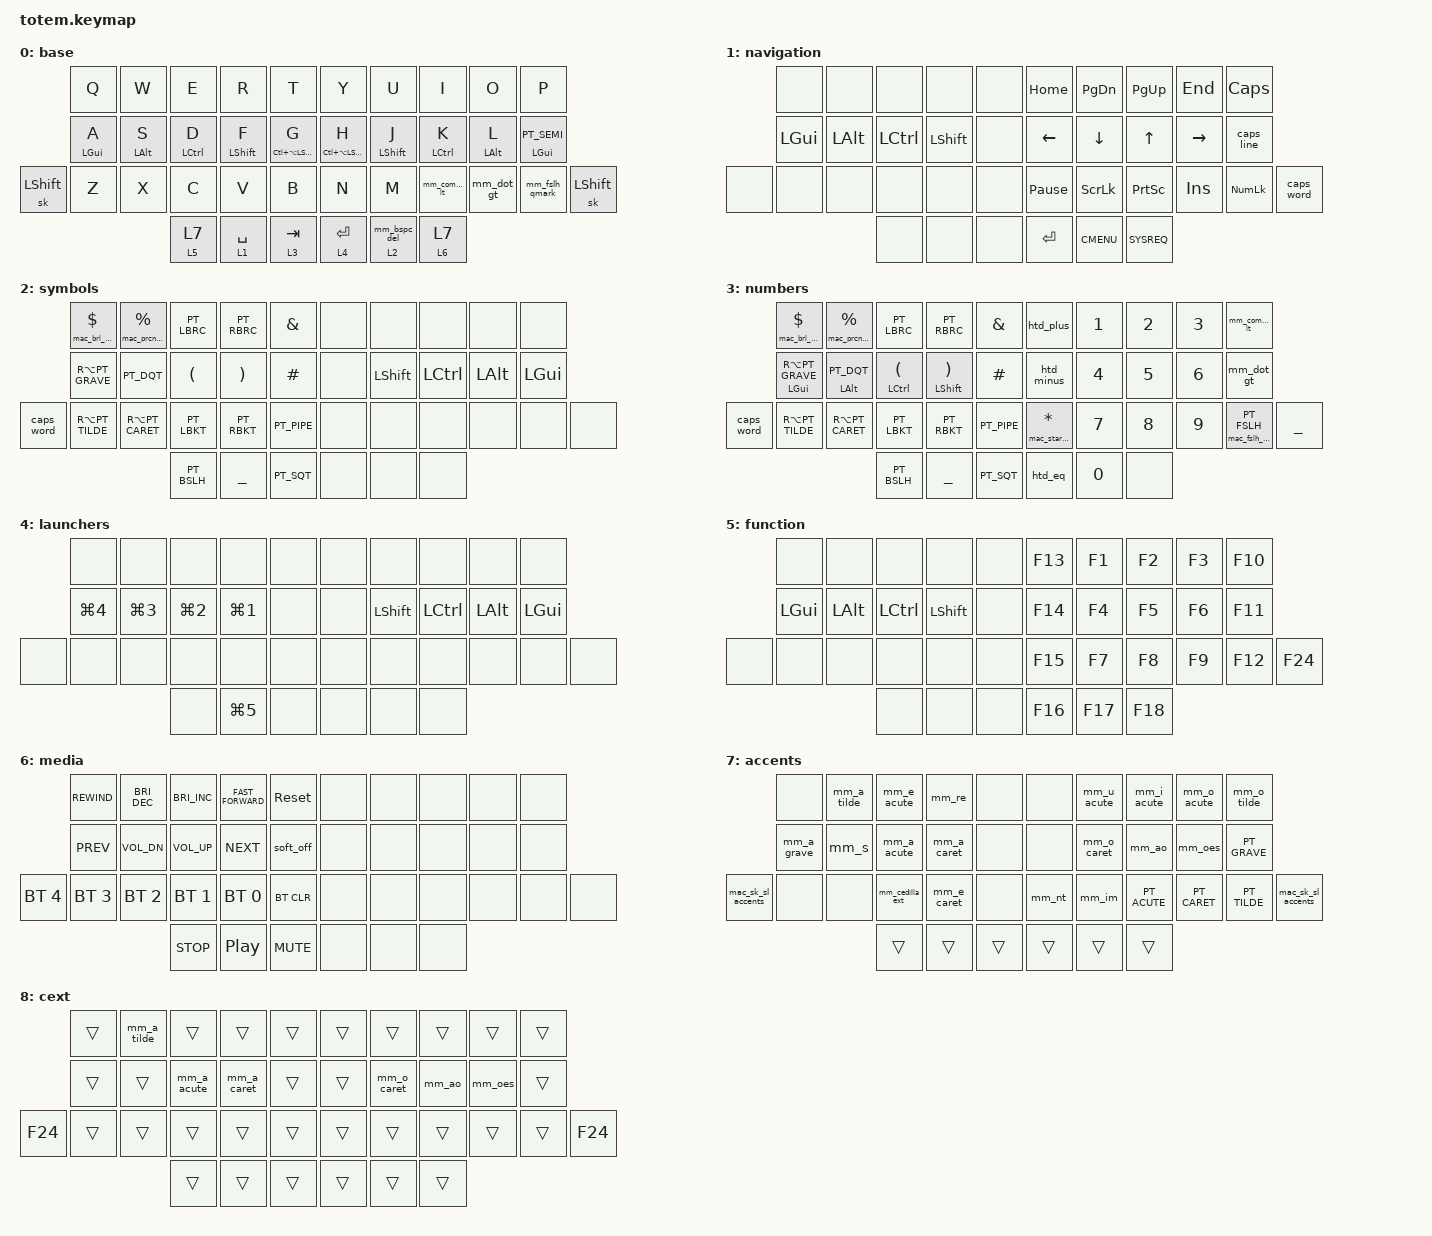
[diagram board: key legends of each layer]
//
//                                                        ▀▀▀▀▀     ▀▀▀▀▀          ▀▀█▀▀
//                                                        ▄▀▀▀▄  ▄  ▄▀▀▀▄  ▄  ▄▀▀▀▄  █  ▄▀▀▀▄
//                                                        █   █  █  █   █  █  █   █  █  █   █
//                                                         ▀▀▀   █   ▀▀▀   █   ▀▀▀   ▀   ▀▀▀
//                                                               █      ▄▄▄█▄▄▄    █   █
//                                                               ▀      █  █  █     █▄█
//                                                             ▀▀▀▀▀    █  █  █      ▀
//                                                                      ▀  ▀  ▀
//
// ▄▄▄▄▄▄▄▄▄▄▄▄▄▄▄▄▄▄▄▄▄▄▄▄▄▄▄▄▄▄▄▄▄▄▄▄▄▄▄▄▄▄▄▄▄▄▄▄▄▄▄▄▄▄▄▄▄▄▄▄▄▄▄▄▄▄▄▄▄▄▄▄▄▄▄▄▄▄▄▄▄▄▄▄▄▄▄▄▄▄▄▄▄▄▄▄▄▄▄▄▄▄▄▄▄▄▄▄▄▄▄▄▄▄▄▄▄▄▄▄▄▄▄▄▄▄▄▄▄▄▄▄▄▄▄▄▄▄▄▄▄▄▄▄▄▄▄▄▄

#include <locale/keys_pt_abnt2.h>
#include <behaviors.dtsi>
#include <dt-bindings/zmk/bt.h>
#include <dt-bindings/zmk/keys.h>

&caps_word { continue-list = <UNDERSCORE MINUS BACKSPACE DELETE PT_ACUTE PT_TILDE PT_CARET PT_GRAVE PT_C_CEDILLA F24>; };

&lt {
    flavor = "balanced";
    tapping-term-ms = <300>;
    quick-tap-ms = <250>;
    require-prior-idle-ms = <50>;
};

&sk {
    quick-release;
    release-after-ms = <3600000>;
};

&sl { release-after-ms = <3600000>; };

/ {
    behaviors {
        caps_line: caps_line {
            compatible = "zmk,behavior-caps-word";
            #binding-cells = <0>;
            continue-list = <SPACE UNDERSCORE MINUS BACKSPACE DELETE PT_ACUTE PT_TILDE PT_CARET PT_GRAVE PT_C_CEDILLA DOT COMMA QMARK EXCL PT_FSLH PT_COLON PT_SEMI PT_DQT PT_SQT LPAR RPAR PT_LBKT PT_RBKT PT_LBRC PT_RBRC F24>;
        };

        mm_bspc_del: mm_bspc_del {
            compatible = "zmk,behavior-mod-morph";
            label = "MM_BSPC_DEL";
            bindings = <&kp BACKSPACE>, <&kp DELETE>;

            #binding-cells = <0>;
            mods = <(MOD_LSFT|MOD_RSFT)>;
        };

        lt_bspc_r: lt_bspc_r {
            compatible = "zmk,behavior-hold-tap";
            label = "LT_BSPC_R";
            bindings = <&mo>, <&mm_bspc_del>;

            #binding-cells = <2>;
            tapping-term-ms = <300>;
            quick-tap-ms = <250>;
            require-prior-idle-ms = <50>;
            flavor = "balanced";
            hold-trigger-key-positions = <10 11 12 13 21 22 23 24 16 17 18 19 0 1 2 3 4 10 11 12 13 14 20 21 22 23 24 25 32 33 34>;
        };

        hrm_l: homerow_mod_left {
            compatible = "zmk,behavior-hold-tap";
            label = "HOMEROW_MOD_LEFT";
            bindings = <&kp>, <&kp>;

            #binding-cells = <2>;
            tapping-term-ms = <300>;
            quick-tap-ms = <250>;
            require-prior-idle-ms = <50>;
            flavor = "balanced";
            hold-trigger-key-positions = <31 9 19 30 8 18 29 7 17 28 6 16 27 5 15 26 37 36 35 13 12 11 10 32 34 33>;
        };

        hrm_r: homerow_mod_right {
            compatible = "zmk,behavior-hold-tap";
            label = "HOMEROW_MOD_RIGHT";
            bindings = <&kp>, <&kp>;

            #binding-cells = <2>;
            tapping-term-ms = <300>;
            quick-tap-ms = <250>;
            require-prior-idle-ms = <50>;
            flavor = "balanced";
            hold-trigger-key-positions = <0 1 2 3 4 10 11 12 13 14 20 21 22 23 24 25 32 33 34 34 16 17 18 19 35 36 37>;
        };

        hrm_l_rt: homerow_mod_left_rt {
            compatible = "zmk,behavior-hold-tap";
            label = "HOMEROW_MOD_LEFT_RT";
            bindings = <&kp>, <&kp>;

            #binding-cells = <2>;
            tapping-term-ms = <300>;
            quick-tap-ms = <250>;
            require-prior-idle-ms = <50>;
            flavor = "balanced";
            hold-trigger-key-positions = <31 9 19 30 8 18 29 7 17 28 6 16 27 5 15 26 37 36 35 13 12 11 10 32 33 34>;
            retro-tap;
        };

        hrm_r_rt: homerow_mod_right_rt {
            compatible = "zmk,behavior-hold-tap";
            label = "HOMEROW_MOD_RIGHT_RT";
            bindings = <&kp>, <&kp>;

            #binding-cells = <2>;
            tapping-term-ms = <300>;
            quick-tap-ms = <250>;
            require-prior-idle-ms = <50>;
            flavor = "balanced";
            hold-trigger-key-positions = <0 1 2 3 4 10 11 12 13 14 20 21 22 23 24 25 32 33 34 34 35 36 37 16 17 18 19>;
            retro-tap;
        };

        sl_mo_l: sticky_layer_momentary_layer_l {
            compatible = "zmk,behavior-hold-tap";
            label = "STICKY_LAYER_MOMENTARY_LAYER_L";
            bindings = <&mo>, <&sl>;

            #binding-cells = <2>;
            tapping-term-ms = <300>;
            quick-tap-ms = <250>;
            require-prior-idle-ms = <50>;
            flavor = "balanced";
            hold-trigger-key-positions = <35 36 37 5 15 26 6 16 27 7 17 28 8 18 29 9 19 30 31 13 12 11 10 32 33 34>;
        };

        sl_mo_r: sticky_layer_momentary_layer_r {
            compatible = "zmk,behavior-hold-tap";
            label = "STICK_LAYER_MOMENTARY_LAYER_R";
            bindings = <&mo>, <&sl>;

            #binding-cells = <2>;
            tapping-term-ms = <300>;
            quick-tap-ms = <250>;
            require-prior-idle-ms = <50>;
            flavor = "balanced";
            hold-trigger-key-positions = <13 12 11 10 32 33 34 0 1 2 3 4 10 11 12 13 14 20 22 23 24 25 21 35 36 37 16 17 18 19>;
        };

        sk_mo_l: stick_key_momentary_layer_l {
            compatible = "zmk,behavior-hold-tap";
            label = "STICKY_KEY_MOMENTARY_LAYER_L";
            bindings = <&mo>, <&sk>;

            #binding-cells = <2>;
            tapping-term-ms = <300>;
            quick-tap-ms = <250>;
            require-prior-idle-ms = <50>;
            flavor = "balanced";
            hold-trigger-key-positions = <10 11 12 13 32 33 34 10 11 12 13 14 32 33 35 36 37 16 17 18 19 5 6 7 8 9 15 16 17 18 19 26 27 28 29 30 31 35 36 37>;
        };

        sk_mo_r: sticky_key_momentary_layer_r {
            compatible = "zmk,behavior-hold-tap";
            label = "STICKY_KEY_MOMENTARY_LAYER_R";
            bindings = <&mo>, <&sk>;

            #binding-cells = <2>;
            tapping-term-ms = <300>;
            quick-tap-ms = <250>;
            require-prior-idle-ms = <50>;
            flavor = "balanced";
            hold-trigger-key-positions = <10 11 12 13 32 33 34 0 1 2 3 4 10 11 12 13 14 20 21 22 23 24 25 32 33 35 36 37 16 17 18 19>;
        };

        // ==========================================
        // Hold-Tap keys
        // ==========================================

        ht_dot: ht_dot {
            compatible = "zmk,behavior-hold-tap";
            #binding-cells = <2>;
            tapping-term-ms = <200>;
            flavor = "tap-preferred";
            bindings = <&mac_dot_sft &kp>;
        };

        ht_comma: ht_comma {
            compatible = "zmk,behavior-hold-tap";
            #binding-cells = <2>;
            tapping-term-ms = <200>;
            flavor = "tap-preferred";
            bindings = <&mac_comma_spc &kp>;
        };

        ht_qmark: ht_qmark {
            compatible = "zmk,behavior-hold-tap";
            #binding-cells = <2>;
            tapping-term-ms = <200>;
            flavor = "tap-preferred";
            bindings = <&mac_qmark_sft>, <&kp>;
        };

        ht_excl: ht_excl {
            compatible = "zmk,behavior-hold-tap";
            #binding-cells = <2>;
            tapping-term-ms = <200>;
            flavor = "tap-preferred";
            bindings = <&mac_excl_sft &kp>;
        };

        ht_star: ht_star {
            compatible = "zmk,behavior-hold-tap";
            #binding-cells = <2>;
            tapping-term-ms = <200>;
            flavor = "tap-preferred";
            bindings = <&mac_star_spc &kp>;
        };

        ht_fslh: ht_fslh {
            compatible = "zmk,behavior-hold-tap";
            #binding-cells = <2>;
            tapping-term-ms = <200>;
            flavor = "tap-preferred";
            bindings = <&mac_fslh_spc &kp>;
        };

        ht_prcnt: ht_prcnt {
            compatible = "zmk,behavior-hold-tap";
            #binding-cells = <2>;
            tapping-term-ms = <200>;
            flavor = "tap-preferred";
            bindings = <&mac_prcnt_spc &kp>;
        };

        ht_dllr: ht_dllr {
            compatible = "zmk,behavior-hold-tap";
            #binding-cells = <2>;
            tapping-term-ms = <200>;
            flavor = "tap-preferred";
            bindings = <&mac_brl_spc &kp>;
        };

        // ==========================================
        // Hold-Tap-Dance keys
        // ==========================================
        // Smart Equal

        ht_eq_1: ht_eq_1 {
            compatible = "zmk,behavior-hold-tap";
            #binding-cells = <2>;
            tapping-term-ms = <200>;
            flavor = "tap-preferred";
            bindings = <&mac_eq_spc &kp>;
        };

        ht_eq_2: ht_eq_2 {
            compatible = "zmk,behavior-hold-tap";
            #binding-cells = <2>;
            tapping-term-ms = <200>;
            flavor = "tap-preferred";
            bindings = <&mac_neq_spc &mac_eqeq_spc>;
        };

        htd_eq: htd_eq {
            compatible = "zmk,behavior-tap-dance";
            #binding-cells = <0>;
            tapping-term-ms = <200>;
            bindings = <&ht_eq_1 0 PT_EQUAL>, <&ht_eq_2 0 0>;
        };

        // Smart Greater Than

        ht_gt_1: ht_gt_1 {
            compatible = "zmk,behavior-hold-tap";
            #binding-cells = <2>;
            tapping-term-ms = <200>;
            flavor = "tap-preferred";
            bindings = <&mac_gt_spc &kp>;
        };

        ht_gt_2: ht_gt_2 {
            compatible = "zmk,behavior-hold-tap";
            #binding-cells = <2>;
            tapping-term-ms = <200>;
            flavor = "tap-preferred";
            bindings = <&mac_gte_spc &mac_gtgt>;
        };

        htd_gt: htd_gt {
            compatible = "zmk,behavior-tap-dance";
            #binding-cells = <0>;
            tapping-term-ms = <200>;
            bindings = <&ht_gt_1 0 GT>, <&ht_gt_2 0 0>;
        };

        // Smart Less Than

        ht_lt_1: ht_lt_1 {
            compatible = "zmk,behavior-hold-tap";
            #binding-cells = <2>;
            tapping-term-ms = <200>;
            flavor = "tap-preferred";
            bindings = <&mac_lt_spc &kp>;
        };

        ht_lt_2: ht_lt_2 {
            compatible = "zmk,behavior-hold-tap";
            #binding-cells = <2>;
            tapping-term-ms = <200>;
            flavor = "tap-preferred";
            bindings = <&mac_lte_spc &mac_ltlt>;
        };

        htd_lt: htd_lt {
            compatible = "zmk,behavior-tap-dance";
            #binding-cells = <0>;
            tapping-term-ms = <200>;
            bindings = <&ht_lt_1 0 LT>, <&ht_lt_2 0 0>;
        };

        // Smart Plus

        ht_plus_1: ht_plus_1 {
            compatible = "zmk,behavior-hold-tap";
            #binding-cells = <2>;
            tapping-term-ms = <200>;
            flavor = "tap-preferred";
            bindings = <&mac_plus_spc &kp>;
        };

        ht_plus_2: ht_plus_2 {
            compatible = "zmk,behavior-hold-tap";
            #binding-cells = <2>;
            tapping-term-ms = <200>;
            flavor = "tap-preferred";
            bindings = <&mac_plus_eq_spc>, <&mac_plus_plus>;
        };

        htd_plus: htd_plus {
            compatible = "zmk,behavior-tap-dance";
            #binding-cells = <0>;
            tapping-term-ms = <200>;
            bindings = <&ht_plus_1 0 PLUS>, <&ht_plus_2 0 0>;
        };

        // Smart Minus

        ht_minus_1: ht_minus_1 {
            compatible = "zmk,behavior-hold-tap";
            #binding-cells = <2>;
            tapping-term-ms = <200>;
            flavor = "tap-preferred";
            bindings = <&mac_minus_spc &kp>;
        };

        ht_minus_2: ht_minus_2 {
            compatible = "zmk,behavior-hold-tap";
            #binding-cells = <2>;
            tapping-term-ms = <200>;
            flavor = "tap-preferred";
            bindings = <&mac_minus_eq_spc>, <&mac_minus_minus>;
        };

        htd_minus: htd_minus {
            compatible = "zmk,behavior-tap-dance";
            #binding-cells = <0>;
            tapping-term-ms = <200>;
            bindings = <&ht_minus_1 0 MINUS>, <&ht_minus_2 0 0>;
        };

        mm_dot_gt: mm_dot_gt {
            compatible = "zmk,behavior-mod-morph";
            bindings = <&ht_dot 0 DOT>, <&htd_gt>;

            #binding-cells = <0>;
            mods = <(MOD_LSFT|MOD_RSFT)>;
        };

        mm_comma_lt: mm_comma_lt {
            compatible = "zmk,behavior-mod-morph";
            bindings = <&ht_comma 0 COMMA>, <&htd_lt>;

            #binding-cells = <0>;
            mods = <(MOD_LSFT|MOD_RSFT)>;
        };

        mm_fslh_qmark: mm_fslh_qmark {
            compatible = "zmk,behavior-mod-morph";
            bindings = <&ht_fslh 0 PT_FSLH>, <&ht_qmark 0 PT_QMARK>;

            #binding-cells = <0>;
            mods = <(MOD_LSFT|MOD_RSFT)>;
        };

        // ==========================================
        // Mod-Morphs for Accented Letters
        // ==========================================

        mm_a_acute: mm_a_acute {
            compatible = "zmk,behavior-mod-morph";
            #binding-cells = <0>;
            bindings = <&mac_a_acute>, <&mac_a_acute_up>;

            mods = <(MOD_LSFT|MOD_RSFT)>;
        };

        mm_a_tilde: mm_a_tilde {
            compatible = "zmk,behavior-mod-morph";
            #binding-cells = <0>;
            bindings = <&mac_a_tilde>, <&mac_a_tilde_up>;

            mods = <(MOD_LSFT|MOD_RSFT)>;
        };

        mm_a_caret: mm_a_caret {
            compatible = "zmk,behavior-mod-morph";
            #binding-cells = <0>;
            bindings = <&mac_a_caret>, <&mac_a_caret_up>;

            mods = <(MOD_LSFT|MOD_RSFT)>;
        };

        mm_a_grave: mm_a_grave {
            compatible = "zmk,behavior-mod-morph";
            #binding-cells = <0>;
            bindings = <&mac_a_grave>, <&mac_a_grave_up>;

            mods = <(MOD_LSFT|MOD_RSFT)>;
        };

        mm_e_acute: mm_e_acute {
            compatible = "zmk,behavior-mod-morph";
            #binding-cells = <0>;
            bindings = <&mac_e_acute>, <&mac_e_acute_up>;

            mods = <(MOD_LSFT|MOD_RSFT)>;
        };

        mm_e_caret: mm_e_caret {
            compatible = "zmk,behavior-mod-morph";
            #binding-cells = <0>;
            bindings = <&mac_e_caret>, <&mac_e_caret_up>;

            mods = <(MOD_LSFT|MOD_RSFT)>;
        };

        mm_o_acute: mm_o_acute {
            compatible = "zmk,behavior-mod-morph";
            #binding-cells = <0>;
            bindings = <&mac_o_acute>, <&mac_o_acute_up>;

            mods = <(MOD_LSFT|MOD_RSFT)>;
        };

        mm_o_tilde: mm_o_tilde {
            compatible = "zmk,behavior-mod-morph";
            #binding-cells = <0>;
            bindings = <&mac_o_tilde>, <&mac_o_tilde_up>;

            mods = <(MOD_LSFT|MOD_RSFT)>;
        };

        mm_o_caret: mm_o_caret {
            compatible = "zmk,behavior-mod-morph";
            #binding-cells = <0>;
            bindings = <&mac_o_caret>, <&mac_o_caret_up>;

            mods = <(MOD_LSFT|MOD_RSFT)>;
        };

        mm_i_acute: mm_i_acute {
            compatible = "zmk,behavior-mod-morph";
            #binding-cells = <0>;
            bindings = <&mac_i_acute>, <&mac_i_acute_up>;

            mods = <(MOD_LSFT|MOD_RSFT)>;
        };

        mm_u_acute: mm_u_acute {
            compatible = "zmk,behavior-mod-morph";
            #binding-cells = <0>;
            bindings = <&mac_u_acute>, <&mac_u_acute_up>;

            mods = <(MOD_LSFT|MOD_RSFT)>;
        };

        // ==========================================
        // Mod-Morphs for Bigrams
        // ==========================================

        mm_ao: mm_ao {
            compatible = "zmk,behavior-mod-morph";
            #binding-cells = <0>;
            bindings = <&mac_ao>, <&mac_ao_up>;

            mods = <(MOD_LSFT|MOD_RSFT)>;
        };

        mm_oes: mm_oes {
            compatible = "zmk,behavior-mod-morph";
            #binding-cells = <0>;
            bindings = <&mac_oes>, <&mac_oes_up>;

            mods = <(MOD_LSFT|MOD_RSFT)>;
        };

        mm_ue: mm_ue {
            compatible = "zmk,behavior-mod-morph";
            #binding-cells = <0>;
            bindings = <&mac_ue>, <&mac_ue_up>;

            mods = <(MOD_LSFT|MOD_RSFT)>;
        };

        mm_gu: mm_gu {
            compatible = "zmk,behavior-mod-morph";
            #binding-cells = <0>;
            bindings = <&mac_gu>, <&mac_gu_up>;

            mods = <(MOD_LSFT|MOD_RSFT)>;
        };

        mm_qu: mm_qu {
            compatible = "zmk,behavior-mod-morph";
            #binding-cells = <0>;
            bindings = <&mac_qu>, <&mac_qu_up>;

            mods = <(MOD_LSFT|MOD_RSFT)>;
        };

        // ==========================================
        // Mod-Morphs for Contractions
        // ==========================================

        mm_nt: mm_nt {
            compatible = "zmk,behavior-mod-morph";
            #binding-cells = <0>;
            bindings = <&mac_nt>, <&mac_nt_up>;

            mods = <(MOD_LSFT|MOD_RSFT)>;
        };

        mm_im: mm_im {
            compatible = "zmk,behavior-mod-morph";
            #binding-cells = <0>;
            bindings = <&mac_im>, <&mac_im_up>;

            mods = <(MOD_LSFT|MOD_RSFT)>;
        };

        mm_re: mm_re {
            compatible = "zmk,behavior-mod-morph";
            #binding-cells = <0>;
            bindings = <&mac_re>, <&mac_re_up>;

            mods = <(MOD_LSFT|MOD_RSFT)>;
        };

        mm_ve: mm_ve {
            compatible = "zmk,behavior-mod-morph";
            #binding-cells = <0>;
            bindings = <&mac_ve>, <&mac_ve_up>;

            mods = <(MOD_LSFT|MOD_RSFT)>;
        };

        mm_s: mm_s {
            compatible = "zmk,behavior-mod-morph";
            #binding-cells = <0>;
            bindings = <&mac_s>, <&mac_s_up>;

            mods = <(MOD_LSFT|MOD_RSFT)>;
        };

        // ==========================================
        // Mod-Morph for Ç extension
        // ==========================================

        mm_cedilla_ext: mm_cedilla_ext {
            compatible = "zmk,behavior-mod-morph";
            #binding-cells = <0>;
            bindings = <&mac_cedilla_ext>, <&mac_cedilla_ext_up>;

            mods = <(MOD_LSFT|MOD_RSFT)>;
            keep-mods = <0>;
        };
    };

    macros {
        os_focus_notification: os_dismiss_notification {
            compatible = "zmk,behavior-macro";
            #binding-cells = <0>;
            bindings = <&kp LG(R)>;
            label = "OS_DISMISS_NOTIFICATION";
        };

        os_end_session: os_end_session {
            compatible = "zmk,behavior-macro";
            #binding-cells = <0>;
            bindings = <&kp LA(LC(DELETE))>;
            label = "OS_END_SESSION";
        };

        os_lock_screen: os_lock_screen {
            compatible = "zmk,behavior-macro";
            #binding-cells = <0>;
            bindings = <&kp LA(LC(BACKSPACE))>;
            label = "OS_LOCK_SCREEN";
        };

        txt_assignment: txt_assignment {
            compatible = "zmk,behavior-macro";
            #binding-cells = <0>;
            bindings = <&kp PT_SPACE &kp PT_EQUAL &kp PT_SPACE>;
            label = "TXT_ASSIGNMENT";
        };

        txt_equals: txt_equals {
            compatible = "zmk,behavior-macro";
            #binding-cells = <0>;
            bindings = <&kp PT_SPACE &kp PT_EQUAL &kp PT_EQUAL &kp PT_SPACE>;
            label = "TXT_EQUALS";
        };

        txt_nequals: txt_nequals {
            compatible = "zmk,behavior-macro";
            #binding-cells = <0>;
            bindings = <&kp PT_SPACE &kp PT_EXCL &kp PT_EQUAL &kp PT_SPACE>;
            label = "TXT_NEQUALS";
        };

        // Macros for Hold-Tap keys

        mac_dot_sft: mac_dot_sft {
            compatible = "zmk,behavior-macro";
            #binding-cells = <0>;
            bindings = <&kp DOT &kp SPACE &sk LEFT_SHIFT>;
        };

        mac_comma_spc: mac_comma_spc {
            compatible = "zmk,behavior-macro";
            #binding-cells = <0>;
            bindings = <&kp COMMA &kp SPACE>;
        };

        mac_qmark_sft: mac_qmark_sft {
            compatible = "zmk,behavior-macro";
            #binding-cells = <0>;
            bindings = <&kp PT_QMARK &kp SPACE &sk LEFT_SHIFT>;
        };

        mac_excl_sft: mac_excl_sft {
            compatible = "zmk,behavior-macro";
            #binding-cells = <0>;
            bindings = <&kp EXCL &kp SPACE &sk LEFT_SHIFT>;
        };

        mac_star_spc: mac_star_spc {
            compatible = "zmk,behavior-macro";
            #binding-cells = <0>;
            bindings = <&kp SPACE &kp STAR &kp SPACE>;
        };

        mac_fslh_spc: mac_fslh_spc {
            compatible = "zmk,behavior-macro";
            #binding-cells = <0>;
            bindings = <&kp SPACE &kp PT_FSLH &kp SPACE>;
        };

        mac_prcnt_spc: mac_prcnt_spc {
            compatible = "zmk,behavior-macro";
            #binding-cells = <0>;
            bindings = <&kp PRCNT &kp SPACE>;
        };

        mac_brl_spc: mac_brl_spc {
            compatible = "zmk,behavior-macro";
            #binding-cells = <0>;
            bindings = <&kp LS(R) &kp DLLR &kp SPACE>;
        };

        // Macros for Hold-Tap-Dance keys

        mac_eq_spc: mac_eq_spc {
            compatible = "zmk,behavior-macro";
            #binding-cells = <0>;
            bindings = <&kp SPACE &kp PT_EQUAL &kp SPACE>;
        };

        mac_eqeq_spc: mac_eqeq_spc {
            compatible = "zmk,behavior-macro";
            #binding-cells = <0>;
            bindings = <&kp SPACE &kp PT_EQUAL &kp PT_EQUAL &kp SPACE>;
        };

        mac_neq_spc: mac_neq_spc {
            compatible = "zmk,behavior-macro";
            #binding-cells = <0>;
            bindings = <&kp SPACE &kp EXCL &kp PT_EQUAL &kp SPACE>;
        };

        mac_gt_spc: mac_gt_spc {
            compatible = "zmk,behavior-macro";
            #binding-cells = <0>;
            bindings = <&kp SPACE &kp GT &kp SPACE>;
        };

        mac_gtgt: mac_gtgt {
            compatible = "zmk,behavior-macro";
            #binding-cells = <0>;
            bindings = <&kp GT &kp GT>;
        };

        mac_gte_spc: mac_gte_spc {
            compatible = "zmk,behavior-macro";
            #binding-cells = <0>;
            bindings = <&kp SPACE &kp GT &kp PT_EQUAL &kp SPACE>;
        };

        mac_lt_spc: mac_lt_spc {
            compatible = "zmk,behavior-macro";
            #binding-cells = <0>;
            bindings = <&kp SPACE &kp LT &kp SPACE>;
        };

        mac_ltlt: mac_ltlt {
            compatible = "zmk,behavior-macro";
            #binding-cells = <0>;
            bindings = <&kp LT &kp LT>;
        };

        mac_lte_spc: mac_lte_spc {
            compatible = "zmk,behavior-macro";
            #binding-cells = <0>;
            bindings = <&kp SPACE &kp LT &kp PT_EQUAL &kp SPACE>;
        };

        mac_plus_spc: mac_plus_spc {
            compatible = "zmk,behavior-macro";
            #binding-cells = <0>;
            bindings = <&kp SPACE &kp PLUS &kp SPACE>;
        };

        mac_plus_plus: mac_plusplus_spc {
            compatible = "zmk,behavior-macro";
            #binding-cells = <0>;
            bindings = <&kp PLUS &kp PLUS>;
        };

        mac_plus_eq_spc: mac_plus_eq_spc {
            compatible = "zmk,behavior-macro";
            #binding-cells = <0>;
            bindings = <&kp SPACE &kp PLUS &kp PT_EQUAL &kp SPACE>;
        };

        mac_minus_spc: mac_minus_spc {
            compatible = "zmk,behavior-macro";
            #binding-cells = <0>;
            bindings = <&kp SPACE &kp MINUS &kp SPACE>;
        };

        mac_minus_minus: mac_mimi_spc {
            compatible = "zmk,behavior-macro";
            #binding-cells = <0>;
            bindings = <&kp MINUS &kp MINUS>;
        };

        mac_minus_eq_spc: mac_minus_eq_spc {
            compatible = "zmk,behavior-macro";
            #binding-cells = <0>;
            bindings = <&kp SPACE &kp MINUS &kp PT_EQUAL &kp SPACE>;
        };

        // ==========================================
        // Accented Vowels (A)
        // ==========================================

        mac_a_acute: mac_a_acute {
            compatible = "zmk,behavior-macro";
            #binding-cells = <0>;
            bindings = <&kp PT_ACUTE &kp A>;
        };

        mac_a_acute_up: mac_a_acute_up {
            compatible = "zmk,behavior-macro";
            #binding-cells = <0>;
            bindings = <&kp F24 &kp PT_ACUTE &kp LS(A)>;
        };

        mac_a_tilde: mac_a_tilde {
            compatible = "zmk,behavior-macro";
            #binding-cells = <0>;
            bindings = <&kp PT_TILDE &kp A>;
        };

        mac_a_tilde_up: mac_a_tilde_up {
            compatible = "zmk,behavior-macro";
            #binding-cells = <0>;
            bindings = <&kp F24 &kp PT_TILDE &kp LS(A)>;
        };

        mac_a_caret: mac_a_caret {
            compatible = "zmk,behavior-macro";
            #binding-cells = <0>;
            bindings = <&kp PT_CARET &kp A>;
        };

        mac_a_caret_up: mac_a_caret_up {
            compatible = "zmk,behavior-macro";
            #binding-cells = <0>;
            bindings = <&kp F24 &kp PT_CARET &kp LS(A)>;
        };

        mac_a_grave: mac_a_grave {
            compatible = "zmk,behavior-macro";
            #binding-cells = <0>;
            bindings = <&kp PT_GRAVE &kp A>;
        };

        mac_a_grave_up: mac_a_grave_up {
            compatible = "zmk,behavior-macro";
            #binding-cells = <0>;
            bindings = <&kp F24 &kp PT_GRAVE &kp LS(A)>;
        };

        // ==========================================
        // Accented Vowels (E)
        // ==========================================

        mac_e_acute: mac_e_acute {
            compatible = "zmk,behavior-macro";
            #binding-cells = <0>;
            bindings = <&kp PT_ACUTE &kp E>;
        };

        mac_e_acute_up: mac_e_acute_up {
            compatible = "zmk,behavior-macro";
            #binding-cells = <0>;
            bindings = <&kp F24 &kp PT_ACUTE &kp LS(E)>;
        };

        mac_e_caret: mac_e_caret {
            compatible = "zmk,behavior-macro";
            #binding-cells = <0>;
            bindings = <&kp PT_CARET &kp E>;
        };

        mac_e_caret_up: mac_e_caret_up {
            compatible = "zmk,behavior-macro";
            #binding-cells = <0>;
            bindings = <&kp F24 &kp PT_CARET &kp LS(E)>;
        };

        // ==========================================
        // Accented Vowels (O)
        // ==========================================

        mac_o_acute: mac_o_acute {
            compatible = "zmk,behavior-macro";
            #binding-cells = <0>;
            bindings = <&kp PT_ACUTE &kp O>;
        };

        mac_o_acute_up: mac_o_acute_up {
            compatible = "zmk,behavior-macro";
            #binding-cells = <0>;
            bindings = <&kp F24 &kp PT_ACUTE &kp LS(O)>;
        };

        mac_o_tilde: mac_o_tilde {
            compatible = "zmk,behavior-macro";
            #binding-cells = <0>;
            bindings = <&kp PT_TILDE &kp O>;
        };

        mac_o_tilde_up: mac_o_tilde_up {
            compatible = "zmk,behavior-macro";
            #binding-cells = <0>;
            bindings = <&kp F24 &kp PT_TILDE &kp LS(O)>;
        };

        mac_o_caret: mac_o_caret {
            compatible = "zmk,behavior-macro";
            #binding-cells = <0>;
            bindings = <&kp PT_CARET &kp O>;
        };

        mac_o_caret_up: mac_o_caret_up {
            compatible = "zmk,behavior-macro";
            #binding-cells = <0>;
            bindings = <&kp F24 &kp PT_CARET &kp LS(O)>;
        };

        // ==========================================
        // Accented Vowels (I)
        // ==========================================

        mac_i_acute: mac_i_acute {
            compatible = "zmk,behavior-macro";
            #binding-cells = <0>;
            bindings = <&kp PT_ACUTE &kp I>;
        };

        mac_i_acute_up: mac_i_acute_up {
            compatible = "zmk,behavior-macro";
            #binding-cells = <0>;
            bindings = <&kp F24 &kp PT_ACUTE &kp LS(I)>;
        };

        // ==========================================
        // Accented Vowels (U)
        // ==========================================

        mac_u_acute: mac_u_acute {
            compatible = "zmk,behavior-macro";
            #binding-cells = <0>;
            bindings = <&kp PT_ACUTE &kp U>;
        };

        mac_u_acute_up: mac_u_acute_up {
            compatible = "zmk,behavior-macro";
            #binding-cells = <0>;
            bindings = <&kp F24 &kp PT_ACUTE &kp LS(U)>;
        };

        // ==========================================
        // Bigram Macros (ão, ões, ue, gu, qu)
        // ==========================================

        mac_ao: mac_ao {
            compatible = "zmk,behavior-macro";
            #binding-cells = <0>;
            bindings = <&kp PT_TILDE &kp A &kp O>;
        };

        mac_ao_up: mac_ao_up {
            compatible = "zmk,behavior-macro";
            #binding-cells = <0>;
            bindings = <&kp F24 &kp PT_TILDE &kp LS(A) &kp O>;
        };

        mac_oes: mac_oes {
            compatible = "zmk,behavior-macro";
            #binding-cells = <0>;
            bindings = <&kp PT_TILDE &kp O &kp E &kp S>;
        };

        mac_oes_up: mac_oes_up {
            compatible = "zmk,behavior-macro";
            #binding-cells = <0>;
            bindings = <&kp F24 &kp PT_TILDE &kp LS(O) &kp E &kp S>;
        };

        mac_ue: mac_ue {
            compatible = "zmk,behavior-macro";
            #binding-cells = <0>;
            bindings = <&kp U &kp E>;
        };

        mac_ue_up: mac_ue_up {
            compatible = "zmk,behavior-macro";
            #binding-cells = <0>;
            bindings = <&kp F24 &kp LS(U) &kp E>;
        };

        mac_gu: mac_gu {
            compatible = "zmk,behavior-macro";
            #binding-cells = <0>;
            bindings = <&kp G &kp U>;
        };

        mac_gu_up: mac_gu_up {
            compatible = "zmk,behavior-macro";
            #binding-cells = <0>;
            bindings = <&kp F24 &kp LS(G) &kp U>;
        };

        mac_qu: mac_qu {
            compatible = "zmk,behavior-macro";
            #binding-cells = <0>;
            bindings = <&kp Q &kp U>;
        };

        mac_qu_up: mac_qu_up {
            compatible = "zmk,behavior-macro";
            #binding-cells = <0>;
            bindings = <&kp F24 &kp LS(Q) &kp U>;
        };

        // ==========================================
        // Contractions (n't, I'm, 're, 've, 's)
        // ==========================================

        mac_nt: mac_nt {
            compatible = "zmk,behavior-macro";
            #binding-cells = <0>;
            bindings = <&kp N &kp PT_SQT &kp T>;
        };

        mac_nt_up: mac_nt_up {
            compatible = "zmk,behavior-macro";
            #binding-cells = <0>;
            bindings = <&kp F24 &kp LS(N) &kp PT_SQT &kp T>;
        };

        mac_im: mac_im {
            compatible = "zmk,behavior-macro";
            #binding-cells = <0>;
            bindings = <&kp LS(I) &kp PT_SQT &kp M>;
        };

        mac_im_up: mac_im_up {
            compatible = "zmk,behavior-macro";
            #binding-cells = <0>;
            bindings = <&kp F24 &kp LS(I) &kp PT_SQT &kp LS(M)>;
        };

        mac_re: mac_re {
            compatible = "zmk,behavior-macro";
            #binding-cells = <0>;
            bindings = <&kp PT_SQT &kp R &kp E>;
        };

        mac_re_up: mac_re_up {
            compatible = "zmk,behavior-macro";
            #binding-cells = <0>;
            bindings = <&kp F24 &kp PT_SQT &kp LS(R) &kp E>;
        };

        mac_ve: mac_ve {
            compatible = "zmk,behavior-macro";
            #binding-cells = <0>;
            bindings = <&kp PT_SQT &kp V &kp E>;
        };

        mac_ve_up: mac_ve_up {
            compatible = "zmk,behavior-macro";
            #binding-cells = <0>;
            bindings = <&kp F24 &kp PT_SQT &kp LS(V) &kp E>;
        };

        mac_s: mac_s {
            compatible = "zmk,behavior-macro";
            #binding-cells = <0>;
            bindings = <&kp PT_SQT &kp S>;
        };

        mac_s_up: mac_s_up {
            compatible = "zmk,behavior-macro";
            #binding-cells = <0>;
            bindings = <&kp F24 &kp PT_SQT &kp LS(S)>;
        };

        // ==========================================
        // Ç extension
        // ==========================================

        mac_cedilla_ext: mac_cedilla_ext {
            compatible = "zmk,behavior-macro";
            #binding-cells = <0>;
            bindings = <&kp PT_C_CEDILLA &sl 8>;
        };

        mac_cedilla_ext_up: mac_cedilla_ext_up {
            compatible = "zmk,behavior-macro";
            #binding-cells = <0>;
            bindings = <&kp LS(PT_C_CEDILLA) &sl 8>;
        };

        // ==========================================
        // Layer & Modifier Combinations
        // ==========================================

        mac_sk_sl_accents: mac_sk_sl_accents {
            compatible = "zmk,behavior-macro";
            #binding-cells = <0>;

            // Re-asserts both sticky shift and the sticky accents layer (7)

            bindings = <&sk LSHIFT &sl 7>;
        };
    };

    combos {
        compatible = "zmk,combos";

        combo_shift {
            bindings = <&kp ESC>;
            key-positions = <13 12>;
            layers = <0>;
        };

        combo_esc {
            bindings = <&kp ESC>;
            key-positions = <16 17>;
            layers = <0>;
        };

        combo_excl {
            bindings = <&ht_excl 0 EXCL>;
            key-positions = <17 18>;
            layers = <0>;
        };

        combo_at {
            bindings = <&kp AT>;
            key-positions = <12 11>;
            layers = <0>;
        };
    };

    keymap {
        compatible = "zmk,keymap";

        base {
            bindings = <
            &kp Q          &kp W                 &kp E           &kp R                &kp T                      &kp Y                    &kp U                &kp I                  &kp O                 &kp P
            &hrm_l LGUI A  &hrm_l_rt LEFT_ALT S  &hrm_l LCTRL D  &hrm_l LEFT_SHIFT F  &hrm_l LC(LA(LSHIFT)) G    &hrm_r LC(LA(LSHIFT)) H  &hrm_r LEFT_SHIFT J  &hrm_r LEFT_CONTROL K  &hrm_r_rt LEFT_ALT L  &hrm_r LGUI PT_SEMI
&sk LSHIFT  &kp Z          &kp X                 &kp C           &kp V                &kp B                      &kp N                    &kp M                &mm_comma_lt           &mm_dot_gt            &mm_fslh_qmark       &sk LSHIFT
                                                 &sl_mo_l 5 7    &lt 1 SPACE          &lt 3 TAB                  &lt 4 ENTER              &lt_bspc_r 2 0       &sl_mo_r 6 7
            >;
        };

        navigation {
            bindings = <
       &none         &none         &none             &none           &none    &kp HOME         &kp PAGE_DOWN   &kp PAGE_UP      &kp END    &kp CAPSLOCK
       &kp LEFT_GUI  &kp LEFT_ALT  &kp LEFT_CONTROL  &kp LEFT_SHIFT  &none    &kp LEFT_ARROW   &kp DOWN        &kp UP           &kp RIGHT  &caps_line
&none  &none         &none         &none             &none           &none    &kp PAUSE_BREAK  &kp SCROLLLOCK  &kp PRINTSCREEN  &kp INS    &kp KP_NUMLOCK  &caps_word
                                   &none             &none           &none    &kp ENTER        &kp K_CMENU     &kp SYSREQ
            >;
        };

        symbols {
            bindings = <
            &ht_dllr 0 DLLR   &ht_prcnt 0 PRCNT  &kp PT_LBRC  &kp PT_RBRC  &kp AMPS       &none  &none       &none      &none     &none
            &kp RA(PT_GRAVE)  &kp PT_DQT         &kp LPAR     &kp RPAR     &kp HASH       &none  &kp LSHIFT  &kp LCTRL  &kp LALT  &kp LGUI
&caps_word  &kp RA(PT_TILDE)  &kp RA(PT_CARET)   &kp PT_LBKT  &kp PT_RBKT  &kp PT_PIPE    &none  &none       &none      &none     &none     &none
                                                 &kp PT_BSLH  &kp UNDER    &kp PT_SQT     &none  &none       &none
            >;
        };

        numbers {
            bindings = <
            &ht_dllr 0 DLLR           &ht_prcnt 0 PRCNT          &kp PT_LBRC        &kp PT_RBRC                &kp AMPS       &htd_plus        &kp N1  &kp N2  &kp N3  &mm_comma_lt
            &hrm_l LGUI RA(PT_GRAVE)  &hrm_l_rt LEFT_ALT PT_DQT  &hrm_l LCTRL LPAR  &hrm_l_rt LEFT_SHIFT RPAR  &kp HASH       &htd_minus       &kp N4  &kp N5  &kp N6  &mm_dot_gt
&caps_word  &kp RA(PT_TILDE)          &kp RA(PT_CARET)           &kp PT_LBKT        &kp PT_RBKT                &kp PT_PIPE    &ht_star 0 STAR  &kp N7  &kp N8  &kp N9  &ht_fslh 0 PT_FSLH  &kp UNDER
                                                                 &kp PT_BSLH        &kp UNDER                  &kp PT_SQT     &htd_eq          &kp N0  &none
            >;
        };

        launchers {
            bindings = <
       &none       &none       &none       &none       &none    &none  &none       &none      &none     &none
       &kp LG(N4)  &kp LG(N3)  &kp LG(N2)  &kp LG(N1)  &none    &none  &kp LSHIFT  &kp LCTRL  &kp LALT  &kp LGUI
&none  &none       &none       &none       &none       &none    &none  &none       &none      &none     &none     &none
                               &none       &kp LG(N5)  &none    &none  &none       &none
            >;
        };

        function {
            bindings = <
       &none         &none         &none             &none           &none    &kp F13  &kp F1   &kp F2   &kp F3  &kp F10
       &kp LEFT_GUI  &kp LEFT_ALT  &kp LEFT_CONTROL  &kp LEFT_SHIFT  &none    &kp F14  &kp F4   &kp F5   &kp F6  &kp F11
&none  &none         &none         &none             &none           &none    &kp F15  &kp F7   &kp F8   &kp F9  &kp F12  &kp F24
                                   &none             &none           &none    &kp F16  &kp F17  &kp F18
            >;
        };

        media {
            bindings = <
              &kp C_REWIND  &kp C_BRIGHTNESS_DEC  &kp C_BRIGHTNESS_INC  &kp C_FAST_FORWARD  &sys_reset    &none  &none  &none  &none  &none
              &kp C_PREV    &kp C_VOL_DN          &kp C_VOLUME_UP       &kp C_NEXT          &soft_off     &none  &none  &none  &none  &none
&bt BT_SEL 4  &bt BT_SEL 3  &bt BT_SEL 2          &bt BT_SEL 1          &bt BT_SEL 0        &bt BT_CLR    &none  &none  &none  &none  &none  &none
                                                  &kp C_STOP            &kp C_PLAY_PAUSE    &kp K_MUTE    &none  &none  &none
            >;
        };

        accents {
            bindings = <
                    &none        &mm_a_tilde  &mm_e_acute      &mm_re       &none     &none   &mm_u_acute  &mm_i_acute   &mm_o_acute   &mm_o_tilde
                    &mm_a_grave  &mm_s        &mm_a_acute      &mm_a_caret  &none     &none   &mm_o_caret  &mm_ao        &mm_oes       &kp PT_GRAVE
&mac_sk_sl_accents  &none        &none        &mm_cedilla_ext  &mm_e_caret  &none     &mm_nt  &mm_im       &kp PT_ACUTE  &kp PT_CARET  &kp PT_TILDE  &mac_sk_sl_accents
                                              &trans           &trans       &trans    &trans  &trans       &trans
            >;
        };

        cext {
            bindings = <
         &trans  &mm_a_tilde  &trans       &trans       &trans    &trans  &trans       &trans  &trans   &trans
         &trans  &trans       &mm_a_acute  &mm_a_caret  &trans    &trans  &mm_o_caret  &mm_ao  &mm_oes  &trans
&kp F24  &trans  &trans       &trans       &trans       &trans    &trans  &trans       &trans  &trans   &trans  &kp F24
                              &trans       &trans       &trans    &trans  &trans       &trans
            >;
        };
    };

    conditional_layers { compatible = "zmk,conditional-layers"; };
};
